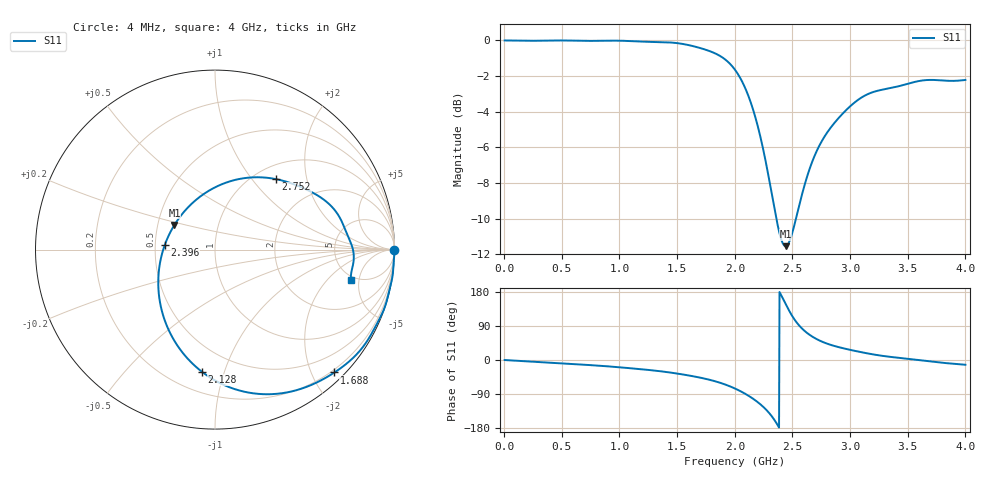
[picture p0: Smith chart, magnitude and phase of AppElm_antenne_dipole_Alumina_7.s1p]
! TOUCHSTONE file generated by CST MICROWAVE STUDIO
! Date and time: Sat May 14 10:20:44 2022
! Project name: AppElm_antenne_dipole_Alumina.cst
! Parameters = {L=33; e=0.035; f=2.45e+09; h=1.6; i=0.8; l1=2.1; lambda=122.449; ls=30; wl=1.7; ws=80}
! Header version: 2018
! Port assignment regex: !\s*Touchstone port\s*([0-9]+)\s*=\s*(CST MWS port|CST DS port)\s*([0-9]+|Zmin|Zmax)\s*\(\"(.*)\"\)(\s*mode\s*([0-9]+))?.*
! Touchstone port assignment:
! Touchstone port 1 = CST MWS port 1 ("")
# GHz S MA R 50
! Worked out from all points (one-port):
!   1000 points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, 4 MHz to 4 GHz, reference 50 ohm
!   lowest |S11| = -11.6 dB at 2.44 GHz (marker M1), VSWR 1.72, Z = 30.6 + j9.06 ohm
!   |S11| at or under -10 dB: 2.36 GHz to 2.531 GHz (170.6 MHz wide, 6.98 % of centre)
!   S11 on the Smith chart (normalised r, x): 4 MHz: open; 1.688 GHz: 0.15, -2.36; 2.128 GHz: 0.33, -0.84; 2.396 GHz: 0.56, +0.03; 2.752 GHz: 1.24, +1.33; 4 GHz: 4.55, -3.84
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0.004  1 -0.1
0.504  0.9999 -8.8
1.004  0.9983 -19.3
1.316  0.9902 -28.3
1.504  0.9826 -35.9
1.688  0.9546 -45.8
1.776  0.935 -51.8
1.856  0.9109 -58.5
1.936  0.8739 -66.9
2.004  0.8256 -75.6
2.068  0.7619 -85.3
2.128  0.6851 -96.0
2.204  0.567 -112.4
2.268  0.4577 -129.9
2.332  0.3542 -153.0
2.396  0.2812 174.9
2.44  0.2645 148.6
2.504  0.2924 113.3
2.56  0.3453 90.5
2.616  0.4035 74.0
2.676  0.4605 61.0
2.752  0.5198 49.0
2.86  0.5846 37.3
3.004  0.6549 26.5
3.2  0.7164 14.7
3.504  0.7564 3.1
3.672  0.7745 -3.1
4  0.7747 -12.6
